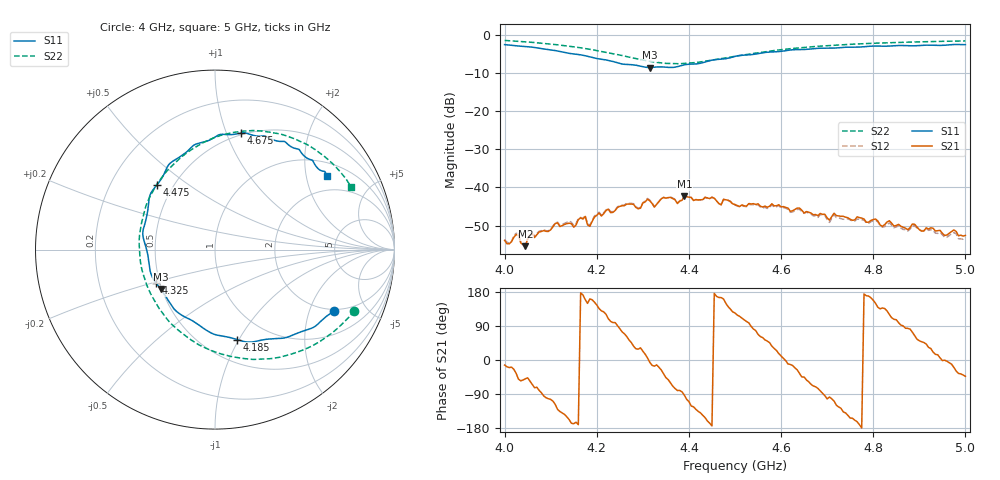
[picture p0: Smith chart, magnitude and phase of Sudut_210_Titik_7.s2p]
# Hz S RI R 50
! CMT, C1220, 16058040, 17.2.0/1
! Date: 15/08/2018 12:03:50
! Data: Format (Calibration Info)
! Freq  S11: Re/Im (F2)  S21: Re/Im (F2)  S12: Re/Im (F2)  S22: Re/Im (F2)
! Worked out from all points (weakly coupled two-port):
!   201 points, 4 GHz to 5 GHz, reference 50 ohm
!   highest |S21| = -42.33 dB at 4.39 GHz (marker M1); lowest = -55.4 dB at 4.045 GHz (marker M2)
!   lowest |S11| = -8.5 dB at 4.315 GHz (marker M3), VSWR 2.20, Z = 24.6 - j12.7 ohm
!   |S11| at or under -10 dB: nowhere
!   |S22| runs from -7.5 to -1.4 dB; largest |S21 - S12| = 0.00035
!   S11 on the Smith chart (normalised r, x): 4 GHz: 1.93, -2.98; 4.185 GHz: 0.72, -0.98; 4.325 GHz: 0.48, -0.21; 4.475 GHz: 0.41, +0.38; 4.675 GHz: 0.48, +1.12; 5 GHz: 1.42, +2.64
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4e9  0.6648 -0.3411  0.00196 -0.000469  0.00202 -0.000436  0.7762 -0.3404
4.03e9  0.6039 -0.3864  0.00151 -0.00182  0.00161 -0.00187  0.7185 -0.4042
4.045e9  0.5701 -0.4179  0.0011 -0.00129  0.00118 -0.00128  0.6857 -0.4362
4.055e9  0.5473 -0.4338  0.00133 -0.00194  0.00145 -0.00201  0.663 -0.4558
4.17e9  0.1717 -0.5143  -0.00381 0.000562  -0.00388 0.00057  0.2812 -0.6088
4.185e9  0.1235 -0.5016  -0.00293 0.000994  -0.00303 0.00105  0.2176 -0.612
4.225e9  -0.0238 -0.4633  -0.00171 0.00492  -0.00179 0.00498  0.0413 -0.5833
4.29e9  -0.2389 -0.3149  0.0046 0.00252  0.0047 0.00255  -0.231 -0.4254
4.315e9  -0.3022 -0.221  0.00666 -0.000682  0.00679 -0.00075  -0.3115 -0.3275
4.325e9  -0.33 -0.1854  0.0053 -0.00155  0.00538 -0.00164  -0.337 -0.2846
4.335e9  -0.3499 -0.152  0.00617 -0.00217  0.00616 -0.00227  -0.3616 -0.2398
4.375e9  -0.384 0.0113  0.001 -0.00607  0.000913 -0.00618  -0.418 -0.0443
4.39e9  -0.4001 0.0683  -0.00035 -0.00764  -0.000534 -0.00765  -0.4226 0.0308
4.47e9  -0.336 0.3447  -0.0057 0.00156  -0.00569 0.00167  -0.316 0.3743
4.475e9  -0.3231 0.3607  -0.00661 0.00227  -0.0065 0.00242  -0.3043 0.3908
4.5e9  -0.2719 0.4471  -0.00334 0.00495  -0.00323 0.00489  -0.2401 0.4667
4.67e9  0.1334 0.6467  0.0016 -0.00408  0.00151 -0.00396  0.2386 0.6622
4.675e9  0.1433 0.6489  0.00146 -0.00417  0.00134 -0.00402  0.2513 0.6612
4.805e9  0.39 0.6007  -0.00334 0.00194  -0.00325 0.0018  0.5231 0.5794
4.82e9  0.4083 0.5843  -0.00228 0.00209  -0.00216 0.00211  0.5487 0.5631
4.835e9  0.4365 0.5669  -0.00183 0.00316  -0.00174 0.00295  0.5727 0.5465
5e9  0.6219 0.4121  0.00171 -0.0016  0.0017 -0.00142  0.7588 0.3503
